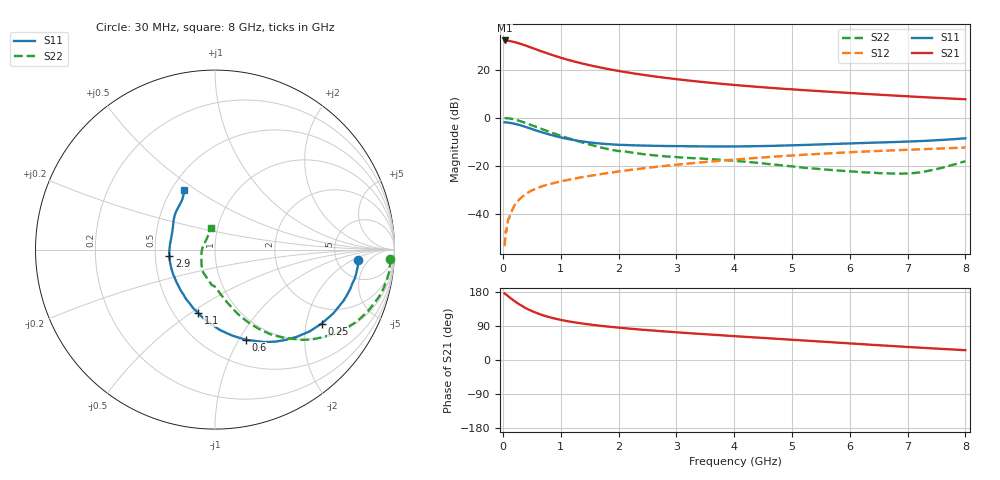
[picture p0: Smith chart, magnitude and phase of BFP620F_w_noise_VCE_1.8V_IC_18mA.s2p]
! Infineon Technologies  Discrete & RF Semiconductors
! BFP620F
! VCE =  1.8 V,  IC =  18 mA
! Common Emitter S-Parameters:  Dec 2014
# GHz  S  MA  R  50
!  f  S11  S21  S12  S22
! GHz  MAG  ANG  MAG  ANG  MAG  ANG  MAG  ANG
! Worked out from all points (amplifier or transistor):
!   95 points, 30 MHz to 8 GHz, reference 50 ohm
!   highest |S21| = 32.2 dB at 30 MHz (marker M1)
!   |S21| within 3 dB of that: start of sweep to 493.5 MHz
!   unconditionally stable (mu >= 1): 3.098 GHz to end of sweep
!   at 300 MHz: K = 0.27, MSG = 32.3 dB, |S12| = -33.7 dB
!   at 3.3 GHz: K = 1.01, MAG = 16.6 dB, |S12| = -18.9 dB
!   at 8 GHz: K = 1.07, MAG = 8.5 dB, |S12| = -12.5 dB
!   lowest NFmin = 0.78 dB at 450 MHz
!   S11 on the Smith chart (normalised r, x): 30 MHz: 8.15, -2.74; 250 MHz: 1.43, -2.47; 600 MHz: 0.76, -1.07; 1.1 GHz: 0.66, -0.53; 2.9 GHz: 0.59, -0.05; 8 GHz: 0.58, +0.44
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0.03  0.8017 -4.3  40.78 175.8  0.0021 86.4  0.9766 -3.0
0.08  0.7951 -11.7  40.4 169.6  0.006 86.5  0.9743 -8.8
0.14  0.7745 -20.1  39.17 162.4  0.0106 81.0  0.9524 -15.7
0.2  0.749 -28.3  37.71 155.7  0.0148 76.6  0.9186 -22.0
0.25  0.7235 -34.7  36.34 150.3  0.0178 74.0  0.8858 -26.9
0.3  0.697 -40.8  34.84 145.5  0.0206 70.9  0.8487 -31.5
0.4  0.6376 -52.2  31.75 136.6  0.0257 68.2  0.7694 -39.5
0.5  0.5825 -62.1  28.68 129.3  0.0305 64.8  0.6967 -46.2
0.6  0.5306 -71.2  25.9 122.9  0.0344 63.0  0.6264 -51.8
0.7  0.4864 -79.1  23.46 117.6  0.038 61.5  0.5652 -56.7
0.8  0.4491 -86.4  21.28 113.2  0.041 60.5  0.5107 -60.6
0.9  0.4157 -93.0  19.45 109.3  0.0441 59.7  0.4631 -64.2
1.1  0.3654 -105.0  16.43 102.9  0.0498 59.0  0.3843 -70.1
1.4  0.3179 -120.8  13.26 95.8  0.0585 58.5  0.2985 -77.4
1.7  0.288 -134.5  11.04 90.1  0.0669 58.1  0.2388 -84.3
2  0.2728 -146.1  9.454 85.5  0.0757 57.6  0.2019 -91.7
2.7  0.2589 -167.1  7.06 76.5  0.0962 55.4  0.1608 -107.4
2.9  0.2569 -171.9  6.584 74.3  0.1016 54.7  0.154 -110.9
4.1  0.2526 164.7  4.708 62.0  0.1367 49.3  0.1238 -126.4
5.4  0.2751 147.5  3.63 49.6  0.1743 41.7  0.0869 -151.1
6.7  0.3092 132.3  2.928 37.2  0.2077 32.9  0.0688 161.6
8  0.3725 117.6  2.424 25.8  0.2384 24.4  0.1236 101.3
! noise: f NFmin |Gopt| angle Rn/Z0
0.45  0.78  0.08  6  0.21
0.9  0.84  0.08  15  0.18
1.5  0.89  0.08  16  0.14
1.8  0.91  0.07  17  0.13
1.9  0.92  0.04  34  0.15
2.4  0.96  0.03  60  0.14
3.5  1.04  0.03  133  0.14
5.5  1.18  0.13  224  0.09
6  1.21  0.13  245  0.13
